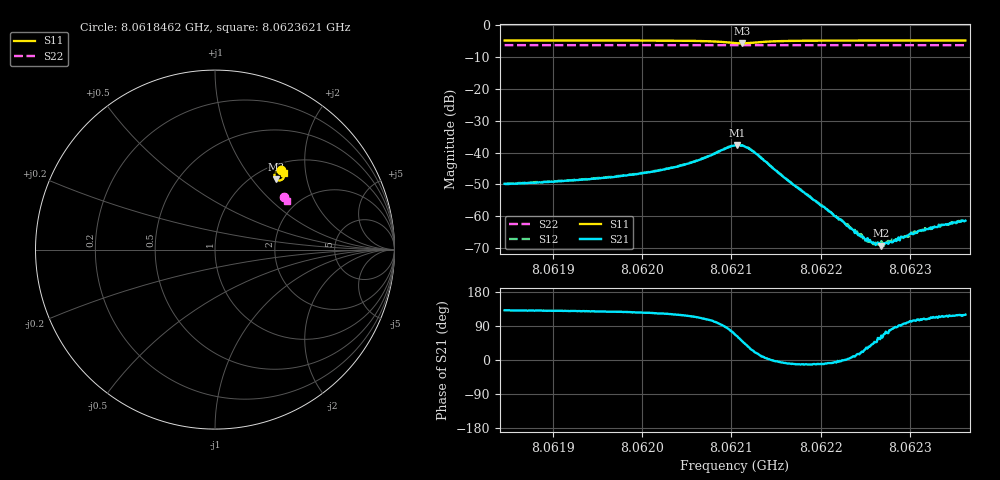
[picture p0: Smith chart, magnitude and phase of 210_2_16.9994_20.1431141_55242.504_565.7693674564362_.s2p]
#  HZ  S  RI  R  50.00
! Rohde & Schwarz Vector Network Analyzer
! Rohde-Schwarz,ZNB20-2Port,1311601062101988,3.16
! Created: UTC 3/20/2024, 11:01:26 PM
! freq[Hz]  re:S11  im:S11  re:S21  im:S21  re:S12  im:S12  re:S22  im:S22
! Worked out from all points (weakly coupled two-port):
!   401 points, 8.0618462 GHz to 8.0623621 GHz, reference 50 ohm
!   highest |S21| = -37.64 dB at 8.0621067 GHz (marker M1); lowest = -69.3 dB at 8.0622679 GHz (marker M2)
!   lowest |S11| = -5.7 dB at 8.0621119 GHz (marker M3), VSWR 3.16, Z = 62 + j66.5 ohm
!   |S11| at or under -10 dB: nowhere
!   |S22| runs from -6.3 to -6.3 dB; largest |S21 - S12| = 0.00093
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8.0618462e9  0.3665 0.444  -0.00212 0.00244  -0.00199 0.00255  0.3866 0.2953
8.0619326e9  0.3732 0.4381  -0.00235 0.00293  -0.00221 0.0031  0.3897 0.2909
8.06196742e9  0.376 0.435  -0.00251 0.00327  -0.00235 0.00347  0.3908 0.2891
8.06201901e9  0.3811 0.428  -0.00283 0.00439  -0.00263 0.0046  0.3927 0.2863
8.0620577e9  0.385 0.4169  -0.00295 0.0065  -0.00258 0.00673  0.3938 0.284
8.06210413e9  0.3559 0.3851  0.00498 0.012  0.00564 0.0119  0.3936 0.281
8.06210671e9  0.3504 0.3861  0.00608 0.0116  0.00692 0.0113  0.3936 0.2811
8.06211187e9  0.3401 0.3918  0.00826 0.0099  0.00893 0.00949  0.3933 0.281
8.06211961e9  0.3314 0.4063  0.00956 0.00646  0.0102 0.00586  0.3934 0.2816
8.06212734e9  0.3322 0.4207  0.00916 0.00317  0.00946 0.00273  0.3939 0.2819
8.06216088e9  0.3554 0.4394  0.00387 -0.000546  0.00386 -0.000821  0.3962 0.2808
8.06219054e9  0.3662 0.4387  0.00185 -0.000385  0.00181 -0.00051  0.3977 0.279
8.06224084e9  0.3753 0.4349  0.000522 0.000142  0.000569 0.000105  0.3996 0.2765
8.06225244e9  0.3768 0.4341  0.000391 0.000229  0.000346 0.000199  0.3998 0.2758
8.06225889e9  0.3775 0.4336  0.000284 0.000265  0.000272 0.000243  0.4001 0.2756
8.06226792e9  0.3785 0.4328  0.00015 0.00031  0.000195 0.000358  0.4004 0.2751
8.06227695e9  0.3794 0.4324  7.86e-05 0.000387  0.000104 0.000402  0.4008 0.2747
8.06228855e9  0.3806 0.4316  -1.35e-05 0.000417  2.11e-05 0.000452  0.4011 0.2741
8.06230403e9  0.382 0.4307  -0.000133 0.00051  -9.19e-05 0.000559  0.4017 0.2732
8.06231177e9  0.3826 0.4302  -0.000182 0.000573  -0.000118 0.000563  0.4019 0.2729
8.06232982e9  0.384 0.429  -0.000274 0.000619  -0.000244 0.000665  0.4025 0.272
8.06236206e9  0.3864 0.4271  -0.000421 0.00074  -0.000366 0.000771  0.4035 0.2701
